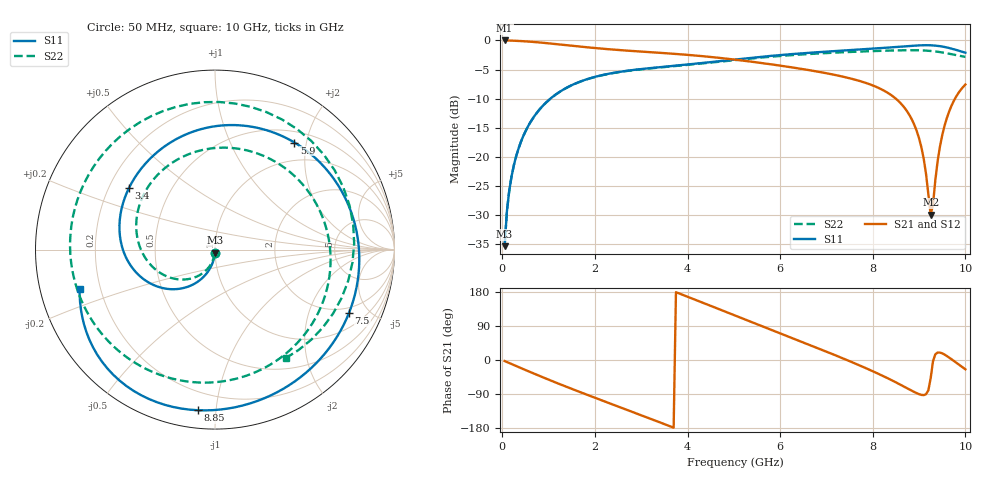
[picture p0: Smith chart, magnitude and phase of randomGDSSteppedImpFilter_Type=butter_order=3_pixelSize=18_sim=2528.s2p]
! freq	dB(S11)	phase(S11)	dB(S12)	phase(S12)
!  dB(S21)	phase(S21)	dB(S22)	phase(S22)
!S-par simulation data
#  GHz  S  DB  R 50
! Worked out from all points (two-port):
!   200 points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, 50 MHz to 10 GHz, reference 50 ohm
!   highest |S21| = 0.00 dB at 50 MHz (marker M1); lowest = -29.9 dB at 9.25 GHz (marker M2)
!   |S21| within 3 dB of the highest: start of sweep to 4.7 GHz
!   lowest |S11| = -35.3 dB at 50 MHz (marker M3), VSWR 1.03, Z = 49.9 - j1.71 ohm
!   |S11| at or under -10 dB: start of sweep to 1.038 GHz
!   |S22| runs from -35.3 to -1.7 dB; largest |S21 - S12| = 0
!   S11 on the Smith chart (normalised r, x): 50 MHz: 1.00, -0.03; 3.4 GHz: 0.28, +0.30; 5.9 GHz: 0.67, +1.79; 7.5 GHz: 1.69, -3.74; 8.85 GHz: 0.09, -0.89; 10 GHz: 0.12, -0.14
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0.05  -35.32 -92.2  -0.00 -2.7  -0.00 -2.7  -35.33 -93.0
0.1  -29.31 -94.6  -0.01 -5.4  -0.01 -5.4  -29.32 -96.2
0.2  -23.33 -99.3  -0.03 -10.7  -0.03 -10.7  -23.34 -102.5
0.5  -15.61 -112.9  -0.16 -26.4  -0.16 -26.4  -15.62 -121.0
1.1  -9.60 -138.3  -0.58 -56.8  -0.58 -56.8  -9.62 -156.6
1.75  -6.87 -162.9  -1.11 -88.0  -1.11 -88.0  -6.89 165.6
2.7  -5.20 165.6  -1.75 -131.8  -1.75 -131.8  -5.24 109.4
3.4  -4.59 144.4  -2.12 -164.4  -2.12 -164.4  -4.64 65.5
4.25  -3.93 117.9  -2.65 155.0  -2.65 155.0  -4.00 11.1
5.05  -3.24 89.3  -3.32 116.3  -3.32 116.3  -3.35 -36.8
5.9  -2.58 53.4  -4.21 75.4  -4.21 75.4  -2.73 -81.8
6.7  -2.08 15.2  -5.20 36.8  -5.20 36.8  -2.29 -120.2
7.5  -1.66 -25.3  -6.49 -3.1  -6.49 -3.1  -1.98 -159.1
7.95  -1.43 -48.4  -7.57 -26.9  -7.57 -26.9  -1.84 176.0
8.35  -1.21 -69.2  -9.13 -49.8  -9.13 -49.8  -1.74 149.5
8.85  -0.91 -96.2  -13.67 -81.5  -13.67 -81.5  -1.68 105.3
9.1  -0.82 -110.7  -20.32 -92.7  -20.32 -92.7  -1.72 76.0
9.25  -0.83 -119.8  -29.91 -48.2  -29.91 -48.2  -1.80 55.7
9.45  -0.98 -132.3  -18.25 19.6  -18.25 19.6  -2.00 25.9
9.6  -1.21 -141.5  -13.31 10.5  -13.31 10.5  -2.20 2.4
9.75  -1.51 -150.3  -10.38 -2.4  -10.38 -2.4  -2.44 -20.9
10  -2.10 -164.0  -7.57 -24.6  -7.57 -24.6  -2.83 -56.9
